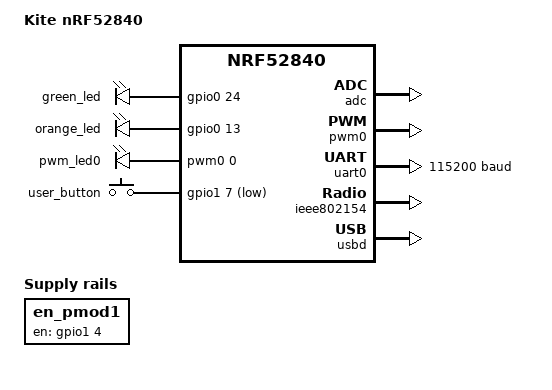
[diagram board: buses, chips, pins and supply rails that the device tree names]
/dts-v1/;
#include <nordic/nrf52840_qiaa.dtsi>
#include <nordic/nrf52840_partition.dtsi>
#include "kite_nrf52840_nrf52840-pinctrl.dtsi"
#include "kite_nrf52840_nrf52840-connectors-gpio.dtsi"
#include "kite_nrf52840_nrf52840-connectors-pinctrl.dtsi"

/ {
	model = "Kite nRF52840";
	compatible = "eub,kite-nrf52840";

	chosen {
		zephyr,console = &uart0;
		zephyr,shell-uart = &uart0;
		zephyr,uart-mcumgr = &uart0;
		zephyr,bt-mon-uart = &uart0;
		zephyr,bt-c2h-uart = &uart0;
		zephyr,ieee802154 = &ieee802154;
	};

	/* These aliases are provided for compatibility with samples */
	aliases {
		led0 = &green_led;
		led1 = &orange_led;
		pwm-led0 = &pwm_led0;
		sw0 = &user_button;
		mcuboot-button0 = &user_button;
		mcuboot-led0 = &green_led;
		watchdog0 = &wdt0;
	};

	leds {
		compatible = "gpio-leds";
		green_led: green_led {
			gpios = <&gpio0 24 GPIO_ACTIVE_HIGH>;
		};
		orange_led: orange_led {
			gpios = <&gpio0 13 GPIO_ACTIVE_HIGH>;
		};
	};

	pwmleds {
		compatible = "pwm-leds";
		pwm_led0: pwm_led_0 {
			pwms = <&pwm0 0 PWM_MSEC(20) PWM_POLARITY_NORMAL>;
		};
	};

	buttons {
		compatible = "gpio-keys";
		user_button: user_button {
			gpios = <&gpio1 7 (GPIO_PULL_UP | GPIO_ACTIVE_LOW)>;
		};
	};

	en_pmod1: pmod1-pwr-ctrl {
		compatible = "regulator-fixed-sync", "regulator-fixed";
		status = "okay";
		regulator-name = "EN_PMOD1";
		enable-gpios = <&gpio1 4 GPIO_ACTIVE_HIGH>;
		regulator-boot-on;
	};
};

&reg1 {
	regulator-initial-mode = <NRF5X_REG_MODE_DCDC>;
};

&adc {
	status = "okay";
};

&gpiote {
	status = "okay";
};

&gpio0 {
	status = "okay";
};

&gpio1 {
	status = "okay";
};

&pwm0 {
	status = "okay";
	pinctrl-0 = <&pwm0_default>;
	pinctrl-1 = <&pwm0_sleep>;
	pinctrl-names = "default", "sleep";
};

&uart0 {
	status = "okay";
	current-speed = <115200>;
	pinctrl-0 = <&uart_pmod1_default>;
	pinctrl-1 = <&uart_pmod1_sleep>;
	pinctrl-names = "default", "sleep";
};

&ieee802154 {
	status = "okay";
};

zephyr_udc0: &usbd {
	status = "okay";
};

&uicr {
	gpio-as-nreset;
};
